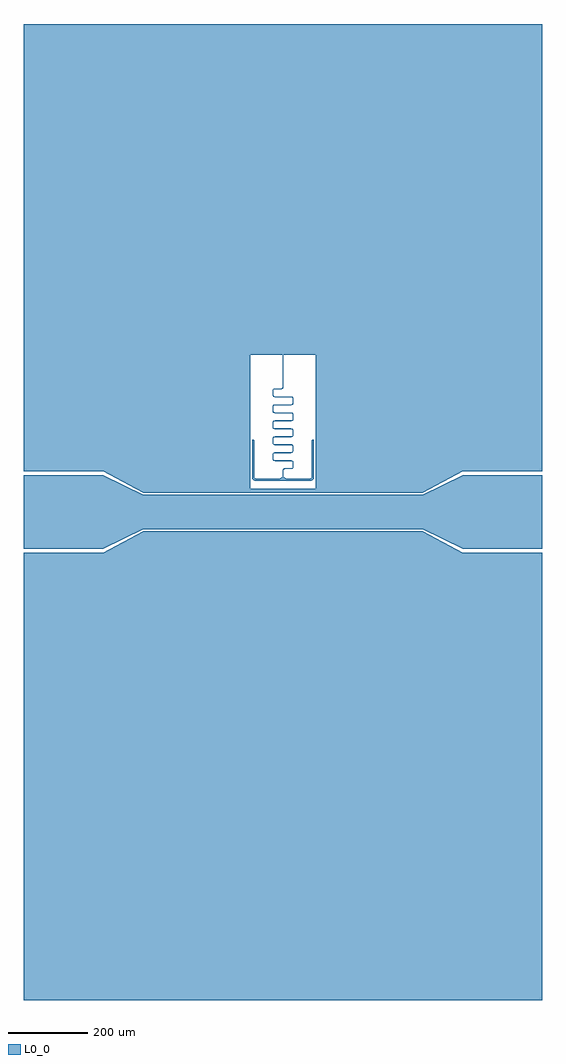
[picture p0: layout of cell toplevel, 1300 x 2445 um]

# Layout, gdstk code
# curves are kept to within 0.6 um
import gdstk
lib = gdstk.Library(unit=1e-6, precision=1e-09)
def P(c, l, *ps):  # polygons
    for p in ps: c.add(gdstk.Polygon(p, *l))
L0_0 = (0, 0)

toplevel = lib.new_cell('toplevel')
P(toplevel, L0_0, [(450,102.575),(650,102.575),(650,1222.5),(-650,1222.5),(-650,102.575),(-450,102.575),(-368.493,58.5),(-82.5,58.5),(-82.5,393.5),(82.5,393.5),(82.5,58.5),(-368.493,58.5),(-350,48.5),(350,48.5)],
  [(650,-1222.5),(650,-102.575),(450,-102.575),(350,-48.5),(-350,-48.5),(-450,-102.575),(-650,-102.575),(-650,-1222.5)],
  [(-75.109,180.998),(-76.768,180.268),(-77.498,178.609),(-77.495,89.262),(-76.51,83.737),(-73.502,80.154),(-70.563,78.918),(-66.738,78.505),(66.879,78.507),(72.263,79.489),(75.811,82.445),(77.108,85.545),(77.499,89.678),(77.5,178.5),(76.343,180.608),(73.846,180.717),(72.502,178.609),(72.493,89.17),(72.07,86.098),(70.83,84.381),(66.336,83.501),(-66.125,83.5),(-70.871,84.409),(-72.426,87.868),(-72.502,178.609),(-73.311,180.343)],
  [(0.75,88.5),(0.761,103.863),(0.936,105.303),(1.382,106.38),(2.355,107.254),(3.907,107.687),(20.751,107.778),(22.653,108.124),(24.109,108.929),(25.244,110.501),(25.72,112.72),(25.738,123.917),(25.232,126.527),(24.55,127.634),(23.586,128.445),(22.334,128.975),(20.78,129.22),(-19.883,129.251),(-22.312,129.595),(-23.618,130.62),(-24.2,132.526),(-24.244,143.663),(-23.912,145.791),(-23.437,146.627),(-22.737,147.204),(-20.488,147.734),(19.708,147.75),(21.666,147.879),(23.559,148.539),(24.86,149.779),(25.573,151.573),(25.75,154.11),(25.579,165.398),(24.613,167.559),(23.801,168.306),(21.521,169.144),(-20.806,169.286),(-22.23,169.565),(-23.247,170.169),(-23.88,171.128),(-24.195,172.478),(-24.179,184.664),(-23.964,185.647),(-23.064,186.987),(-21.304,187.66),(21.148,187.81),(22.97,188.244),(24.327,189.127),(25.232,190.473),(25.678,192.238),(25.621,205.166),(25.28,206.413),(24.712,207.431),(23.931,208.212),(22.913,208.78),(21.608,209.131),(-20.781,209.284),(-22.188,209.55),(-23.203,210.129),(-23.847,211.048),(-24.179,212.336),(-24.179,224.664),(-23.964,225.647),(-23.064,226.987),(-21.304,227.66),(21.12,227.807),(22.884,228.209),(24.255,229.059),(25.168,230.331),(25.652,232.036),(25.626,245.137),(25.291,246.384),(24.712,247.431),(23.931,248.212),(22.913,248.78),(21.608,249.131),(-20.757,249.282),(-22.147,249.536),(-23.142,250.076),(-23.793,250.931),(-24.153,252.15),(-24.182,264.64),(-23.971,265.626),(-23.064,266.987),(-21.304,267.66),(21.063,267.802),(22.798,268.175),(24.158,268.971),(25.085,270.162),(25.612,271.776),(25.75,273.898),(25.631,285.108),(24.731,287.405),(23.931,288.212),(22.913,288.78),(19.978,289.248),(-20.708,289.279),(-22.041,289.502),(-23.048,290),(-23.704,290.763),(-24.104,291.876),(-24.22,304.233),(-23.872,305.892),(-23.08,306.975),(-21.998,307.511),(-20.512,307.733),(-3.218,307.899),(-1.859,308.319),(-0.769,309.037),(0.025,310.051),(0.521,311.341),(0.75,313.818),(0.75,393.5),(-0.75,393.5),(-0.75,313.849),(-0.936,311.697),(-1.827,310.102),(-3.65,309.347),(-20.751,309.222),(-22.624,308.886),(-24.059,308.113),(-25.181,306.641),(-25.698,304.563),(-25.748,293.576),(-25.573,291.573),(-25.025,290.051),(-24.084,288.908),(-22.74,288.154),(-21.034,287.799),(19.883,287.749),(22.332,287.397),(23.595,286.414),(24.185,284.616),(24.134,272.035),(23.764,270.874),(23.111,270.05),(22.105,269.522),(20.733,269.28),(-19.978,269.248),(-22.913,268.78),(-23.931,268.212),(-24.712,267.431),(-25.291,266.384),(-25.626,265.137),(-25.635,251.921),(-25.141,250.274),(-24.207,249.015),(-22.855,248.197),(-21.091,247.805),(19.909,247.748),(22.332,247.397),(23.595,246.414),(24.182,244.64),(24.166,232.243),(23.82,230.989),(23.173,230.102),(22.168,229.543),(20.781,229.284),(-19.978,229.248),(-22.913,228.78),(-23.931,228.212),(-24.712,227.431),(-25.621,225.166),(-25.667,212.152),(-25.194,210.387),(-24.279,209.081),(-22.913,208.22),(-21.12,207.807),(19.909,207.748),(22.332,207.397),(23.583,206.432),(24.179,204.664),(24.187,192.407),(23.864,191.088),(23.218,190.142),(22.209,189.557),(20.806,189.286),(-19.978,189.248),(-22.913,188.78),(-23.931,188.212),(-24.712,187.431),(-25.617,185.195),(-25.687,172.323),(-25.244,170.501),(-24.35,169.15),(-22.97,168.244),(-21.148,167.81),(19.883,167.749),(22.23,167.435),(23.524,166.515),(24.156,164.827),(24.138,152.057),(23.662,150.691),(22.774,149.817),(21.373,149.351),(-20.78,149.22),(-22.392,148.959),(-23.667,148.395),(-24.633,147.534),(-25.314,146.327),(-25.743,143.751),(-25.66,132.094),(-25.346,130.76),(-24.788,129.673),(-24.008,128.847),(-22.97,128.244),(-19.978,127.752),(20.537,127.731),(22.7,127.224),(23.385,126.688),(23.864,125.912),(24.242,123.763),(24.231,112.963),(23.905,111.188),(23.08,110.025),(21.977,109.483),(20.463,109.265),(3.68,109.171),(1.579,108.54),(0.14,107.221),(-0.475,105.834),(-0.731,104.083),(-0.75,88.5)],
  [(10,83.5),(0.75,88.5),(-0.75,88.5),(-10,83.5)],
  [(-350,43.5),(-450,92),(-650,92),(-650,-92),(-450,-92),(-350,-43.5),(350,-43.5),(450,-92),(650,-92),(650,92),(450,92),(350,43.5)])

lib.write_gds('toplevel.gds')
